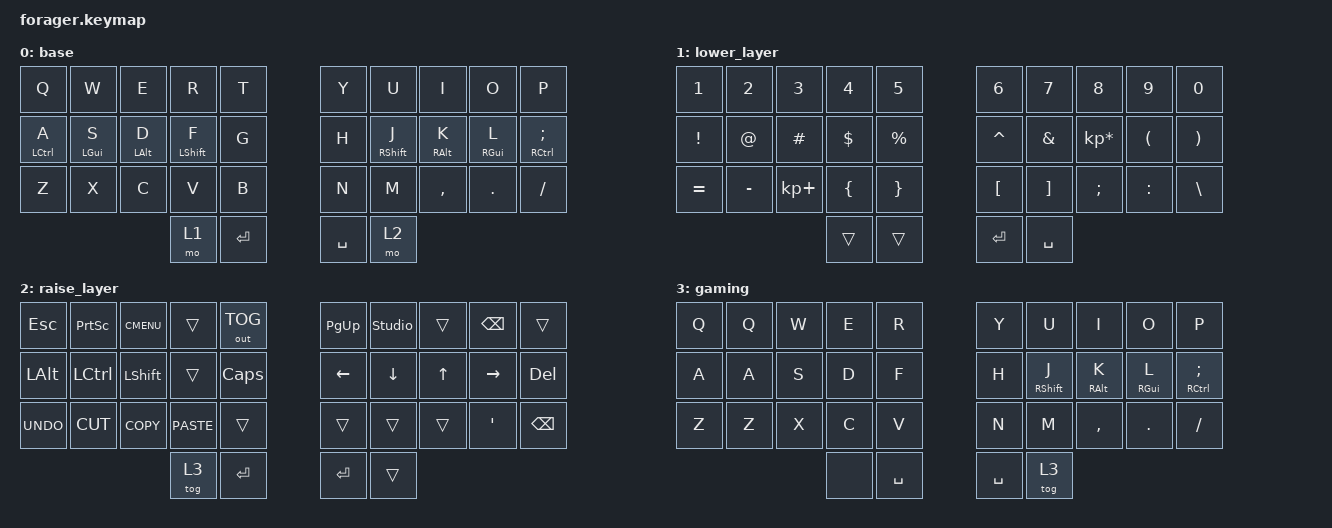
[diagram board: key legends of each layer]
#include <behaviors.dtsi>
#include <dt-bindings/zmk/keys.h>
#include <dt-bindings/zmk/bt.h>
#include <dt-bindings/zmk/outputs.h>

/ {
    combos {
        compatible = "zmk,combos";

        softoff {
            bindings = <&soft_off>;
            key-positions = <42 43>;
        };
    };
    behaviors {
      lhm: left_hand_homerow_mods {
        compatible = "zmk,behavior-hold-tap";
        #binding-cells = <2>;
        tapping-term-ms = <200>;
        quick-tap-ms = <175>;
        require-prior-idle-ms = <115>;
        flavor = "tap-preferred";
        bindings = <&kp>, <&kp>;
        /* hold-trigger-on-release; */
        /* hold-trigger-key-positions = <9 10 11 12 13 14>; */
      };
      rhm: right_hand_homerow_mods {
        compatible = "zmk,behavior-hold-tap";
        #binding-cells = <2>;
        tapping-term-ms = <200>;
        quick-tap-ms = <175>;
        require-prior-idle-ms = <115>;
        flavor = "tap-preferred";
        bindings = <&kp>, <&kp>;
        /* hold-trigger-on-release; */
        /* hold-trigger-key-positions = <2 3 4 5 6>; */
      };
    };

    keymap {
        compatible = "zmk,keymap";

        base {
            bindings = <
            &kp Q           &kp W           &kp E           &kp R           &kp T                                     &kp Y           &kp U           &kp I           &kp O           &kp P
          &lhm LCTRL A   &lhm LGUI S     &lhm LALT D     &lhm LSHIFT F    &kp G                                       &kp H   &rhm RSHIFT J      &rhm RALT K      &rhm RGUI L     &rhm RCTRL SEMI
            &kp Z   &kp X     &kp C     &kp V      &kp B                                                              &kp N   &kp M      &kp COMMA  &kp DOT   &kp FSLH
                                                                                  &mo 1   &kp ENTER     &kp SPACE   &mo 2
            >;
        };

        lower_layer {

            bindings = <
&kp N1     &kp N2        &kp N3       &kp N4    &kp N5                             &kp N6     &kp N7    &kp N8           &kp N9     &kp N0    
&kp EXCL   &kp AT        &kp HASH     &kp DLLR  &kp PRCNT                          &kp CARET  &kp AMPS  &kp KP_MULTIPLY  &kp LPAR   &kp RPAR  
&kp EQUAL  &kp MINUS     &kp KP_PLUS  &kp LBRC  &kp RBRC                          &kp LBKT   &kp RBKT  &kp SEMI         &kp COLON  &kp BSLH  
                                          &trans    &trans                        &kp ENTER    &kp SPACE  
            >;
        };
        raise_layer {
            bindings = <
&kp ESCAPE       &kp PSCRN     &kp K_CMENU   &trans        &out OUT_TOG                          &kp PG_UP  &studio_unlock    &trans  &kp BSPC &trans
&kp LALT      &kp LCTRL     &kp LSHFT     &trans        &kp CLCK                              &kp LEFT   &kp DOWN  &kp UP  &kp RIGHT  &kp DEL
&kp K_UNDO    &kp K_CUT     &kp K_COPY    &kp K_PASTE   &trans                                &trans     &trans    &trans  &kp SQT &kp BSPC    
                                                  &tog 3        &kp ENTER               &kp ENTER  &trans
            >;
        };
        gaming {
            bindings = <
&kp Q   &kp Q     &kp W     &kp E      &kp R                             &kp Y   &kp U      &kp I      &kp O     &kp P     
&kp A   &kp A     &kp S     &kp D      &kp F                             &kp H   &rhm RSHIFT J      &rhm RALT K      &rhm RGUI L     &rhm RCTRL SEMI  
&kp Z   &kp Z     &kp X     &kp C      &kp V                              &kp N   &kp M      &kp COMMA  &kp DOT   &kp FSLH  
                                        &none   &kp SPACE     &kp SPACE   &tog 3   
            >;
    };
};
        };
